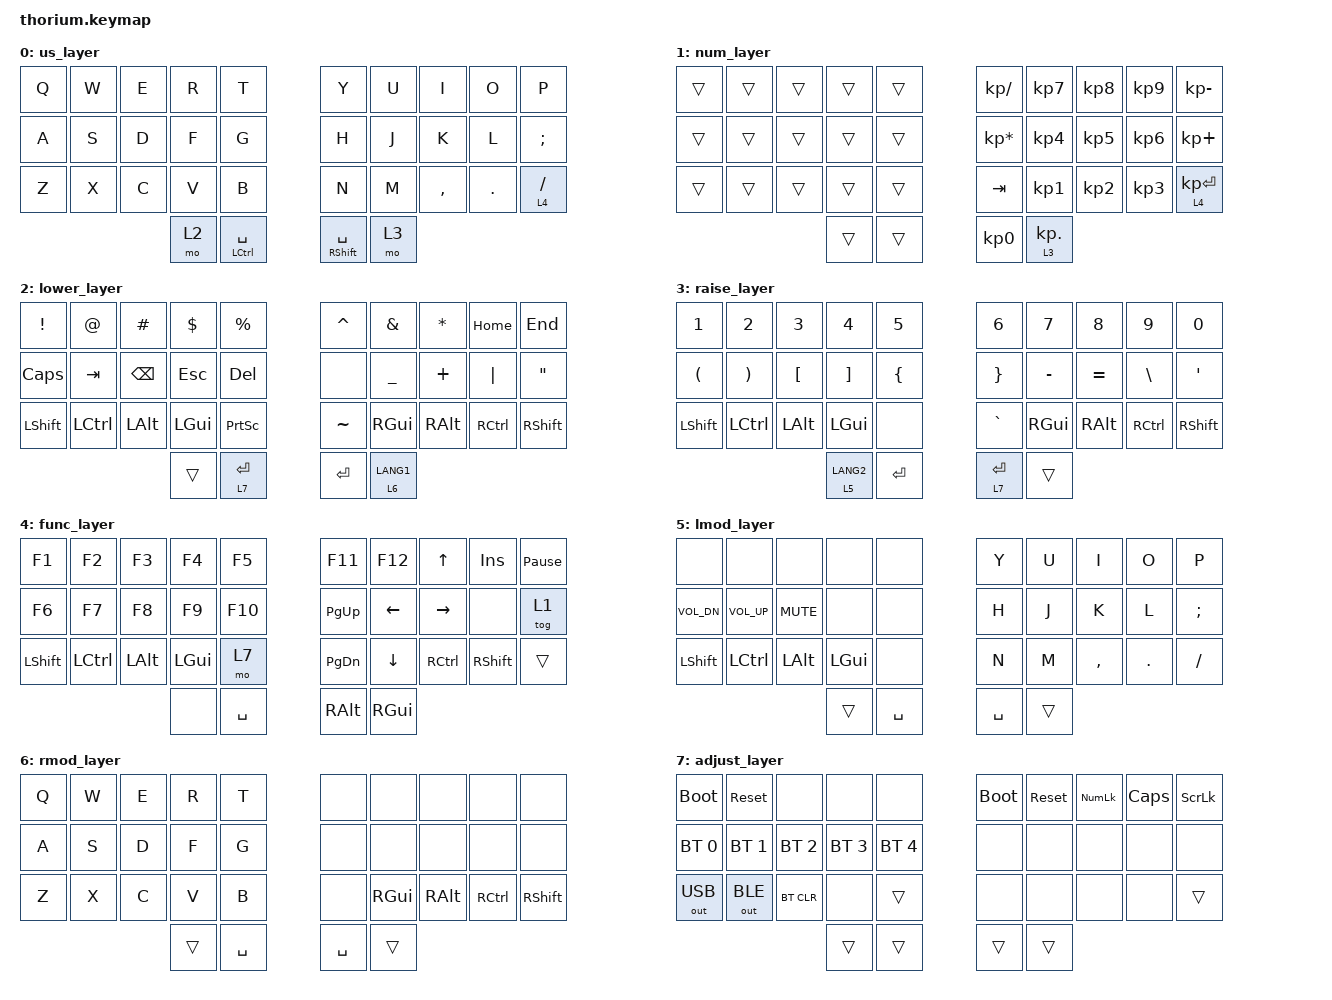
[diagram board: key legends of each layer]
#pragma once

#include <behaviors.dtsi>
#include <dt-bindings/zmk/keys.h>
#include <dt-bindings/zmk/bt.h>
#include <dt-bindings/zmk/outputs.h>

/* device tree */

&mt {
    tapping-term-ms = <200>;
    quick-tap-ms = <200>;
};

&lt {
    tapping-term-ms = <200>;
    quick-tap-ms = <200>;
};

/ {
    keymap {
        compatible = "zmk,keymap";
        us_layer {
            bindings = <
    &kp Q     &kp W     &kp E     &kp R     &kp T     &kp Y     &kp U     &kp I     &kp O     &kp P
    &kp A     &kp S     &kp D     &kp F     &kp G     &kp H     &kp J     &kp K     &kp L     &kp SEMI
    &kp Z     &kp X     &kp C     &kp V     &kp B     &kp N     &kp M     &kp COMMA &kp DOT   &lt 4 SLASH
                                  &mo 2     &mt LCTRL SPACE    &mt RSHFT SPACE    &mo 3
            >;
        };
        num_layer {
            bindings = <
    &trans   &trans   &trans   &trans   &trans   &kp KP_SLASH    &kp KP_N7    &kp KP_N8 &kp KP_N9 &kp KP_MINUS
    &trans   &trans   &trans   &trans   &trans   &kp KP_ASTERISK &kp KP_N4    &kp KP_N5 &kp KP_N6 &kp KP_PLUS
    &trans   &trans   &trans   &trans   &trans   &kp TAB         &kp KP_N1    &kp KP_N2 &kp KP_N3 &lt 4 KP_ENTER
                                  &trans   &trans   &kp KP_N0       &lt 3 KP_DOT
            >;
        };
        lower_layer {
            bindings = <
    &kp EXCL  &kp AT    &kp HASH  &kp DLLR  &kp PRCNT &kp CARET &kp AMPS  &kp ASTRK &kp HOME  &kp END
    &kp CAPS  &kp TAB   &kp BSPC  &kp ESC   &kp DEL   &none   &kp UNDER &kp PLUS  &kp PIPE  &kp DQT
    &kp LSHFT &kp LCTRL &kp LALT  &kp LGUI  &kp PSCRN &kp TILDE &kp RGUI  &kp RALT  &kp RCTRL &kp RSHFT
                                  &trans   &lt 7 ENTER    &kp ENTER &lt 6 LANG1
            >;
        };
        raise_layer {
            bindings = <
    &kp N1    &kp N2    &kp N3    &kp N4    &kp N5    &kp N6    &kp N7    &kp N8    &kp N9    &kp N0
    &kp LPAR  &kp RPAR  &kp LBKT  &kp RBKT  &kp LBRC  &kp RBRC  &kp MINUS &kp EQUAL &kp BSLH  &kp SQT
    &kp LSHFT &kp LCTRL &kp LALT  &kp LGUI  &none   &kp GRAVE &kp RGUI  &kp RALT  &kp RCTRL &kp RSHFT
                                  &lt 5 LANG2      &kp ENTER &lt 7 ENTER    &trans
            >;
        };
        func_layer {
            bindings = <
    &kp F1    &kp F2    &kp F3    &kp F4    &kp F5    &kp F11   &kp F12   &kp UP     &kp INS   &kp PAUSE_BREAK
    &kp F6    &kp F7    &kp F8    &kp F9    &kp F10   &kp PG_UP &kp LEFT  &kp RIGHT  &none   &tog 1
    &kp LSHFT &kp LCTRL &kp LALT  &kp LGUI  &mo 7    &kp PG_DN &kp DOWN  &kp RCTRL  &kp RSHFT &trans
                                  &none   &kp SPACE &kp RALT  &kp RGUI
            >;
        };
        lmod_layer {
            bindings = <
    &none      &none      &none    &none  &none   &kp Y     &kp U     &kp I     &kp O     &kp P
    &kp C_VOL_DN &kp C_VOL_UP &kp C_MUTE &none  &none   &kp H     &kp J     &kp K     &kp L     &kp SEMI
    &kp LSHFT    &kp LCTRL    &kp LALT   &kp LGUI &none   &kp N     &kp M     &kp COMMA &kp DOT   &kp SLASH
                                         &trans  &kp SPACE &kp SPACE &trans
            >;
        };
        rmod_layer {
            bindings = <
    &kp Q     &kp W     &kp E     &kp R     &kp T     &none    &none   &none   &none   &none
    &kp A     &kp S     &kp D     &kp F     &kp G     &none    &none   &none   &none   &none
    &kp Z     &kp X     &kp C     &kp V     &kp B     &none    &kp RGUI  &kp RALT  &kp RCTRL &kp RSHFT
                                  &trans   &kp SPACE &kp SPACE  &trans
            >;
        };
        adjust_layer {
            bindings = <
    &bootloader  &sys_reset   &none      &none      &none      &bootloader &sys_reset &kp KP_NUM &kp CAPS &kp SLCK
    &bt BT_SEL 0 &bt BT_SEL 1 &bt BT_SEL 2 &bt BT_SEL 3 &bt BT_SEL 4 &none     &none    &none    &none  &none
    &out OUT_USB &out OUT_BLE &bt BT_CLR   &none      &trans      &none     &none    &none    &none  &trans
                                           &trans      &trans      &trans     &trans
            >;
        };
    };
};
